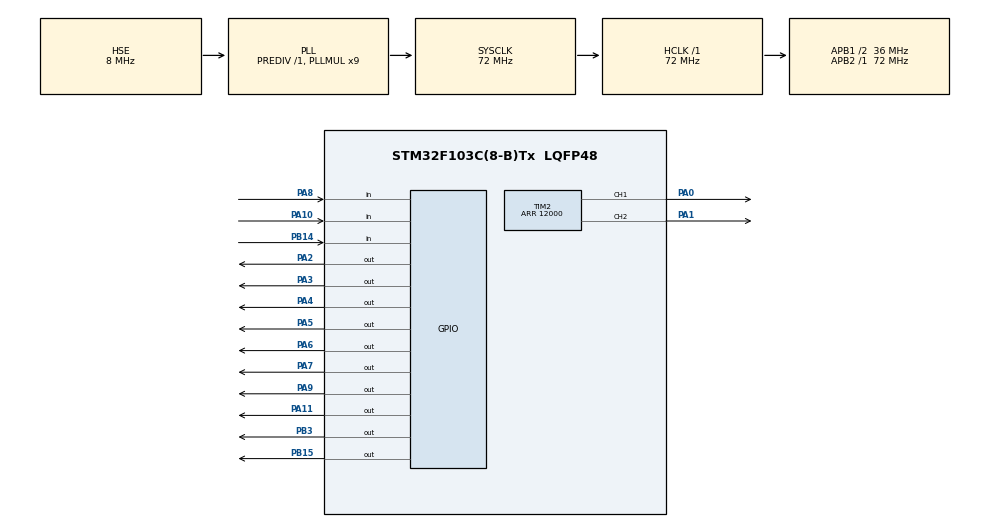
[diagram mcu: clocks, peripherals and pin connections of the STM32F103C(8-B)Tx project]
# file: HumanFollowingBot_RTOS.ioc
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FREERTOS.Mutexes01=myMutex01,Dynamic,NULL
FREERTOS.Tasks01=ReadRightTask,1,128,ta,Default,NULL,Dynamic,NULL,NULL;ReadSensorData,0,128,ReadSensor,Default,NULL,Dynamic,NULL,NULL;choosePath,0,128,path,Default,NULL,Dynamic,NULL,NULL
FREERTOS.configUSE_TIMERS=1
Mcu.Family=STM32F1
Mcu.Name=STM32F103C(8-B)Tx
Mcu.Package=LQFP48
NVIC.PriorityGroup=NVIC_PRIORITYGROUP_4
PA0-WKUP.Signal=S_TIM2_CH1_ETR
PA1.Signal=S_TIM2_CH2
PA10.Signal=GPIO_Input
PA11.Signal=GPIO_Output
PA13.Mode=Serial_Wire
PA13.Signal=SYS_JTMS-SWDIO
PA14.Mode=Serial_Wire
PA14.Signal=SYS_JTCK-SWCLK
PA2.Signal=GPIO_Output
PA3.Signal=GPIO_Output
PA4.Signal=GPIO_Output
PA5.Signal=GPIO_Output
PA6.Signal=GPIO_Output
PA7.Signal=GPIO_Output
PA8.Signal=GPIO_Input
PA9.Signal=GPIO_Output
PB14.Signal=GPIO_Input
PB15.Signal=GPIO_Output
PB3.Signal=GPIO_Output
PD0-OSC_IN.Mode=HSE-External-Oscillator
PD0-OSC_IN.Signal=RCC_OSC_IN
PD1-OSC_OUT.Mode=HSE-External-Oscillator
PD1-OSC_OUT.Signal=RCC_OSC_OUT
ProjectManager.HeapSize=0x200
ProjectManager.StackSize=0x400
ProjectManager.TargetToolchain=STM32CubeIDE
RCC.AHBFreq_Value=72000000
RCC.APB1CLKDivider=RCC_HCLK_DIV2
RCC.APB1Freq_Value=36000000
RCC.APB1TimFreq_Value=72000000
RCC.APB2Freq_Value=72000000
RCC.APB2TimFreq_Value=72000000
RCC.HCLKFreq_Value=72000000
RCC.PLLMUL=RCC_PLL_MUL9
RCC.PLLSourceVirtual=RCC_PLLSOURCE_HSE
RCC.SYSCLKFreq_VALUE=72000000
RCC.SYSCLKSource=RCC_SYSCLKSOURCE_PLLCLK
RCC.USBFreq_Value=72000000
SH.S_TIM2_CH1_ETR.0=TIM2_CH1,PWM Generation1 CH1
SH.S_TIM2_CH2.0=TIM2_CH2,PWM Generation2 CH2
TIM1.Prescaler=71
TIM2.AutoReloadPreload=TIM_AUTORELOAD_PRELOAD_ENABLE
TIM2.Channel-PWM\ Generation1\ CH1=TIM_CHANNEL_1
TIM2.Channel-PWM\ Generation2\ CH2=TIM_CHANNEL_2
TIM2.CounterMode=TIM_COUNTERMODE_CENTERALIGNED2
TIM2.Period=12000
TIM3.Prescaler=71
TIM4.Prescaler=71
VP_FREERTOS_VS_CMSIS_V1.Mode=CMSIS_V1
VP_TIM1_VS_ClockSourceINT.Mode=Internal
VP_TIM2_VS_ClockSourceINT.Mode=Internal
VP_TIM3_VS_ClockSourceINT.Mode=Internal
VP_TIM4_VS_ClockSourceINT.Mode=Internal
board=custom

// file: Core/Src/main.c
/* USER CODE BEGIN Header */
/**
  ******************************************************************************
  * @file           : main.c
  * @brief          : Main program body
  ******************************************************************************
  * @attention
  *
  * Copyright (c) 2024 STMicroelectronics.
  * All rights reserved.
  *
  * This software is licensed under terms that can be found in the LICENSE file
  * in the root directory of this software component.
  * If no LICENSE file comes with this software, it is provided AS-IS.
  *
  ******************************************************************************
  */
/* USER CODE END Header */
#include "main.h"
#include <stdio.h>
#include "LCD1602.h"

TIM_HandleTypeDef htim1;
TIM_HandleTypeDef htim2;
TIM_HandleTypeDef htim3;
TIM_HandleTypeDef htim4;

osThreadId ReadRightTaskHandle;
osThreadId ReadSensorDataHandle;
osThreadId choosePathHandle;
osMutexId myMutex01Handle;
/* USER CODE BEGIN PV */
#define TRIGCENTER_PIN GPIO_PIN_9
#define TRIGCENTER_PORT GPIOA
#define ECHOCENTER_PIN GPIO_PIN_8
#define ECHOCENTER_PORT GPIOA
uint32_t centerpMillis;
uint32_t centerValue1 = 0;
uint32_t centerValue2 = 0;
uint16_t centerDistance  = 0;  // cm

#define TRIGLEFT_PIN GPIO_PIN_11
#define TRIGLEFT_PORT GPIOA
#define ECHOLEFT_PIN GPIO_PIN_10
#define ECHOLEFT_PORT GPIOA
uint32_t leftpMillis;
uint32_t leftValue1 = 0;
uint32_t leftValue2 = 0;
uint16_t leftDistance  = 0;  // cm

#define TRIGRIGHT_PIN GPIO_PIN_15
#define TRIGRIGHT_PORT GPIOB
#define ECHORIGHT_PIN GPIO_PIN_14
#define ECHORIGHT_PORT GPIOB
uint32_t rightpMillis;
uint32_t rightValue1 = 0;
uint32_t rightValue2 = 0;
uint16_t rightDistance  = 0;  // cm

uint16_t desiredDistance=5;
uint16_t error;

int preverror=0;
#define kp 500
#define ki 0

#define kd 0.3
int pwmC=0;
int pwmR=0;
int pwmL=0;
int sum=0;
int SampleTime=500; // 1khz
int propotional=0;
int integral=0;
int derivative =0;
char buf[10];
uint16_t x;

int PID_Apply(int error){
	int output=0;

	sum+=error;
	 propotional= kp*error;
	 integral=(ki*sum)/SampleTime;
	 derivative =kd*(error-preverror)*SampleTime;

	output=propotional+integral+derivative;
	preverror=error;
	if(output>12000)
		output=12000;
	else if(output<0)
	{
		output=0;
	}
	else if(output<=4500 && derivative>0)
	{
		output=4500;
	}
	return output;
}
/* USER CODE END PV */

void SystemClock_Config(void);
static void MX_GPIO_Init(void);
static void MX_TIM1_Init(void);
static void MX_TIM2_Init(void);
static void MX_TIM3_Init(void);
static void MX_TIM4_Init(void);
void ReadSensor(void const * argument);
void path(void const * argument);

int main(void)
{

  HAL_Init();

  SystemClock_Config();

  MX_GPIO_Init();
  MX_TIM1_Init();
  MX_TIM2_Init();
  MX_TIM3_Init();
  MX_TIM4_Init();
  /* USER CODE BEGIN 2 */
  HAL_TIM_Base_Start(&htim1);
  HAL_TIM_Base_Start(&htim3);
  HAL_TIM_Base_Start(&htim4);
  HAL_GPIO_WritePin(TRIGCENTER_PORT, TRIGCENTER_PIN, GPIO_PIN_RESET);  // pull the TRIG pin low
  HAL_TIM_PWM_Start(&htim2, TIM_CHANNEL_1);
  HAL_TIM_PWM_Start(&htim2, TIM_CHANNEL_2);
  /* USER CODE END 2 */
  lcd_init ();
    HAL_Delay(100);
    lcd_clear();
    lcd_put_cur(0, 0);
    lcd_send_string("HELLO ");
    HAL_Delay(100);
    lcd_clear();
  /* Create the mutex(es) */
  /* definition and creation of myMutex01 */
  osMutexDef(myMutex01);
  myMutex01Handle = osMutexCreate(osMutex(myMutex01));

  /* definition and creation of ReadSensorData */
  osThreadDef(ReadSensorData, ReadSensor, osPriorityNormal, 0, 128);
  ReadSensorDataHandle = osThreadCreate(osThread(ReadSensorData), NULL);

  /* definition and creation of choosePath */
  osThreadDef(choosePath, path, osPriorityNormal, 0, 128);
  choosePathHandle = osThreadCreate(osThread(choosePath), NULL);

  osKernelStart();

  while (1){}  /* USER CODE END 3 */
}

void SystemClock_Config(void)
{
  RCC_OscInitTypeDef RCC_OscInitStruct = {0};
  RCC_ClkInitTypeDef RCC_ClkInitStruct = {0};

  /** Initializes the RCC Oscillators according to the specified parameters
  * in the RCC_OscInitTypeDef structure.
  */
  RCC_OscInitStruct.OscillatorType = RCC_OSCILLATORTYPE_HSE;
  RCC_OscInitStruct.HSEState = RCC_HSE_ON;
  RCC_OscInitStruct.HSEPredivValue = RCC_HSE_PREDIV_DIV1;
  RCC_OscInitStruct.HSIState = RCC_HSI_ON;
  RCC_OscInitStruct.PLL.PLLState = RCC_PLL_ON;
  RCC_OscInitStruct.PLL.PLLSource = RCC_PLLSOURCE_HSE;
  RCC_OscInitStruct.PLL.PLLMUL = RCC_PLL_MUL9;
  if (HAL_RCC_OscConfig(&RCC_OscInitStruct) != HAL_OK)
  {
    Error_Handler();
  }

  /** Initializes the CPU, AHB and APB buses clocks
  */
  RCC_ClkInitStruct.ClockType = RCC_CLOCKTYPE_HCLK|RCC_CLOCKTYPE_SYSCLK
                              |RCC_CLOCKTYPE_PCLK1|RCC_CLOCKTYPE_PCLK2;
  RCC_ClkInitStruct.SYSCLKSource = RCC_SYSCLKSOURCE_PLLCLK;
  RCC_ClkInitStruct.AHBCLKDivider = RCC_SYSCLK_DIV1;
  RCC_ClkInitStruct.APB1CLKDivider = RCC_HCLK_DIV2;
  RCC_ClkInitStruct.APB2CLKDivider = RCC_HCLK_DIV1;

  if (HAL_RCC_ClockConfig(&RCC_ClkInitStruct, FLASH_LATENCY_2) != HAL_OK)
  {
    Error_Handler();
  }
}

static void MX_TIM1_Init(void)
{

  TIM_ClockConfigTypeDef sClockSourceConfig = {0};
  TIM_MasterConfigTypeDef sMasterConfig = {0};

  htim1.Instance = TIM1;
  htim1.Init.Prescaler = 71;
  htim1.Init.CounterMode = TIM_COUNTERMODE_UP;
  htim1.Init.Period = 65535;
  htim1.Init.ClockDivision = TIM_CLOCKDIVISION_DIV1;
  htim1.Init.RepetitionCounter = 0;
  htim1.Init.AutoReloadPreload = TIM_AUTORELOAD_PRELOAD_DISABLE;
  if (HAL_TIM_Base_Init(&htim1) != HAL_OK)
  {
    Error_Handler();
  }
  sClockSourceConfig.ClockSource = TIM_CLOCKSOURCE_INTERNAL;
  if (HAL_TIM_ConfigClockSource(&htim1, &sClockSourceConfig) != HAL_OK)
  {
    Error_Handler();
  }
  sMasterConfig.MasterOutputTrigger = TIM_TRGO_RESET;
  sMasterConfig.MasterSlaveMode = TIM_MASTERSLAVEMODE_DISABLE;
  if (HAL_TIMEx_MasterConfigSynchronization(&htim1, &sMasterConfig) != HAL_OK)
  {
    Error_Handler();
  }

}

static void MX_TIM2_Init(void)
{

  TIM_ClockConfigTypeDef sClockSourceConfig = {0};
  TIM_MasterConfigTypeDef sMasterConfig = {0};
  TIM_OC_InitTypeDef sConfigOC = {0};

  htim2.Instance = TIM2;
  htim2.Init.Prescaler = 0;
  htim2.Init.CounterMode = TIM_COUNTERMODE_CENTERALIGNED2;
  htim2.Init.Period = 12000;
  htim2.Init.ClockDivision = TIM_CLOCKDIVISION_DIV1;
  htim2.Init.AutoReloadPreload = TIM_AUTORELOAD_PRELOAD_ENABLE;
  if (HAL_TIM_Base_Init(&htim2) != HAL_OK)
  {
    Error_Handler();
  }
  sClockSourceConfig.ClockSource = TIM_CLOCKSOURCE_INTERNAL;
  if (HAL_TIM_ConfigClockSource(&htim2, &sClockSourceConfig) != HAL_OK)
  {
    Error_Handler();
  }
  if (HAL_TIM_PWM_Init(&htim2) != HAL_OK)
  {
    Error_Handler();
  }
  sMasterConfig.MasterOutputTrigger = TIM_TRGO_RESET;
  sMasterConfig.MasterSlaveMode = TIM_MASTERSLAVEMODE_DISABLE;
  if (HAL_TIMEx_MasterConfigSynchronization(&htim2, &sMasterConfig) != HAL_OK)
  {
    Error_Handler();
  }
  sConfigOC.OCMode = TIM_OCMODE_PWM1;
  sConfigOC.Pulse = 0;
  sConfigOC.OCPolarity = TIM_OCPOLARITY_HIGH;
  sConfigOC.OCFastMode = TIM_OCFAST_DISABLE;
  if (HAL_TIM_PWM_ConfigChannel(&htim2, &sConfigOC, TIM_CHANNEL_1) != HAL_OK)
  {
    Error_Handler();
  }
  if (HAL_TIM_PWM_ConfigChannel(&htim2, &sConfigOC, TIM_CHANNEL_2) != HAL_OK)
  {
    Error_Handler();
  }
  HAL_TIM_MspPostInit(&htim2);

}

static void MX_TIM3_Init(void)
{

  TIM_ClockConfigTypeDef sClockSourceConfig = {0};
  TIM_MasterConfigTypeDef sMasterConfig = {0};

  htim3.Instance = TIM3;
  htim3.Init.Prescaler = 71;
  htim3.Init.CounterMode = TIM_COUNTERMODE_UP;
  htim3.Init.Period = 65535;
  htim3.Init.ClockDivision = TIM_CLOCKDIVISION_DIV1;
  htim3.Init.AutoReloadPreload = TIM_AUTORELOAD_PRELOAD_DISABLE;
  if (HAL_TIM_Base_Init(&htim3) != HAL_OK)
  {
    Error_Handler();
  }
  sClockSourceConfig.ClockSource = TIM_CLOCKSOURCE_INTERNAL;
  if (HAL_TIM_ConfigClockSource(&htim3, &sClockSourceConfig) != HAL_OK)
  {
    Error_Handler();
  }
  sMasterConfig.MasterOutputTrigger = TIM_TRGO_RESET;
  sMasterConfig.MasterSlaveMode = TIM_MASTERSLAVEMODE_DISABLE;
  if (HAL_TIMEx_MasterConfigSynchronization(&htim3, &sMasterConfig) != HAL_OK)
  {
    Error_Handler();
  }

}

static void MX_TIM4_Init(void)
{

  TIM_ClockConfigTypeDef sClockSourceConfig = {0};
  TIM_MasterConfigTypeDef sMasterConfig = {0};

  htim4.Instance = TIM4;
  htim4.Init.Prescaler = 71;
  htim4.Init.CounterMode = TIM_COUNTERMODE_UP;
  htim4.Init.Period = 65535;
  htim4.Init.ClockDivision = TIM_CLOCKDIVISION_DIV1;
  htim4.Init.AutoReloadPreload = TIM_AUTORELOAD_PRELOAD_DISABLE;
  if (HAL_TIM_Base_Init(&htim4) != HAL_OK)
  {
    Error_Handler();
  }
  sClockSourceConfig.ClockSource = TIM_CLOCKSOURCE_INTERNAL;
  if (HAL_TIM_ConfigClockSource(&htim4, &sClockSourceConfig) != HAL_OK)
  {
    Error_Handler();
  }
  sMasterConfig.MasterOutputTrigger = TIM_TRGO_RESET;
  sMasterConfig.MasterSlaveMode = TIM_MASTERSLAVEMODE_DISABLE;
  if (HAL_TIMEx_MasterConfigSynchronization(&htim4, &sMasterConfig) != HAL_OK)
  {
    Error_Handler();
  }

}

static void MX_GPIO_Init(void)
{
  GPIO_InitTypeDef GPIO_InitStruct = {0};

  /* GPIO Ports Clock Enable */
  __HAL_RCC_GPIOD_CLK_ENABLE();
  __HAL_RCC_GPIOA_CLK_ENABLE();
  __HAL_RCC_GPIOB_CLK_ENABLE();

  /*Configure GPIO pin Output Level */
  HAL_GPIO_WritePin(GPIOA, GPIO_PIN_2|GPIO_PIN_3|GPIO_PIN_4|GPIO_PIN_5
                          |GPIO_PIN_6|GPIO_PIN_7|GPIO_PIN_9|GPIO_PIN_11, GPIO_PIN_RESET);

  /*Configure GPIO pin Output Level */
  HAL_GPIO_WritePin(GPIOB, GPIO_PIN_15|GPIO_PIN_3, GPIO_PIN_RESET);

  /*Configure GPIO pins : PA2 PA3 PA4 PA5
                           PA6 PA7 PA9 PA11 */
  GPIO_InitStruct.Pin = GPIO_PIN_2|GPIO_PIN_3|GPIO_PIN_4|GPIO_PIN_5
                          |GPIO_PIN_6|GPIO_PIN_7|GPIO_PIN_9|GPIO_PIN_11;
  GPIO_InitStruct.Mode = GPIO_MODE_OUTPUT_PP;
  GPIO_InitStruct.Pull = GPIO_NOPULL;
  GPIO_InitStruct.Speed = GPIO_SPEED_FREQ_LOW;
  HAL_GPIO_Init(GPIOA, &GPIO_InitStruct);

  /*Configure GPIO pin : PB14 */
  GPIO_InitStruct.Pin = GPIO_PIN_14;
  GPIO_InitStruct.Mode = GPIO_MODE_INPUT;
  GPIO_InitStruct.Pull = GPIO_NOPULL;
  HAL_GPIO_Init(GPIOB, &GPIO_InitStruct);

  /*Configure GPIO pins : PB15 PB3 */
  GPIO_InitStruct.Pin = GPIO_PIN_15|GPIO_PIN_3;
  GPIO_InitStruct.Mode = GPIO_MODE_OUTPUT_PP;
  GPIO_InitStruct.Pull = GPIO_NOPULL;
  GPIO_InitStruct.Speed = GPIO_SPEED_FREQ_LOW;
  HAL_GPIO_Init(GPIOB, &GPIO_InitStruct);

  /*Configure GPIO pins : PA8 PA10 */
  GPIO_InitStruct.Pin = GPIO_PIN_8|GPIO_PIN_10;
  GPIO_InitStruct.Mode = GPIO_MODE_INPUT;
  GPIO_InitStruct.Pull = GPIO_NOPULL;
  HAL_GPIO_Init(GPIOA, &GPIO_InitStruct);

}

void ReadSensor(void const * argument)
{
  /* USER CODE BEGIN ReadSensor */
  /* Infinite loop */
  for(;;)
  {
	 // xSemaphoreTake(myMutex01Handle,0);
	  vTaskSuspend(NULL);
	  HAL_GPIO_WritePin(TRIGCENTER_PORT, TRIGCENTER_PIN, GPIO_PIN_SET);  // pull the TRIG pin HIGH
	      __HAL_TIM_SET_COUNTER(&htim1, 0);
	      while (__HAL_TIM_GET_COUNTER (&htim1) < 10);  // wait for 10 us
	      HAL_GPIO_WritePin(TRIGCENTER_PORT, TRIGCENTER_PIN, GPIO_PIN_RESET);  // pull the TRIG pin low

	      centerpMillis = HAL_GetTick(); // used this to avoid infinite while loop  (for timeout)
	      // wait for the echo pin to go high
	      while (!(HAL_GPIO_ReadPin (ECHOCENTER_PORT, ECHOCENTER_PIN)) && centerpMillis + 10 >  HAL_GetTick());
	      centerValue1 = __HAL_TIM_GET_COUNTER (&htim1);

	      centerpMillis = HAL_GetTick(); // used this to avoid infinite while loop (for timeout)
	      // wait for the echo pin to go low
	      while ((HAL_GPIO_ReadPin (ECHOCENTER_PORT, ECHOCENTER_PIN)) && centerpMillis + 50 > HAL_GetTick());
	      centerValue2 = __HAL_TIM_GET_COUNTER (&htim1);

	      centerDistance = (centerValue2-centerValue1)* 0.034/2;

	      //left ultrasonic
	      HAL_GPIO_WritePin(TRIGLEFT_PORT, TRIGLEFT_PIN, GPIO_PIN_SET);  // pull the TRIG pin HIGH
	      __HAL_TIM_SET_COUNTER(&htim3, 0);
	      while (__HAL_TIM_GET_COUNTER (&htim3) < 10);  // wait for 10 us
	      HAL_GPIO_WritePin(TRIGLEFT_PORT, TRIGLEFT_PIN, GPIO_PIN_RESET);  // pull the TRIG pin low

	      leftpMillis = HAL_GetTick(); // used this to avoid infinite while loop  (for timeout)
	      // wait for the echo pin to go high
	      while (!(HAL_GPIO_ReadPin (ECHOLEFT_PORT, ECHOLEFT_PIN)) && leftpMillis + 10 >  HAL_GetTick());
	      leftValue1 = __HAL_TIM_GET_COUNTER (&htim3);

	      leftpMillis = HAL_GetTick(); // used this to avoid infinite while loop (for timeout)
	      // wait for the echo pin to go low
	      while ((HAL_GPIO_ReadPin (ECHOLEFT_PORT, ECHOLEFT_PIN)) && leftpMillis + 50 > HAL_GetTick());
	      leftValue2 = __HAL_TIM_GET_COUNTER (&htim3);

	      leftDistance = (leftValue2-leftValue1)* 0.034/2;

	      //right ultrasonic
	      HAL_GPIO_WritePin(TRIGRIGHT_PORT, TRIGRIGHT_PIN, GPIO_PIN_SET);  // pull the TRIG pin HIGH
	      __HAL_TIM_SET_COUNTER(&htim4, 0);
	      while (__HAL_TIM_GET_COUNTER (&htim4) < 10);  // wait for 10 us
	      HAL_GPIO_WritePin(TRIGRIGHT_PORT, TRIGRIGHT_PIN, GPIO_PIN_RESET);  // pull the TRIG pin low

	      rightpMillis = HAL_GetTick(); // used this to avoid infinite while loop  (for timeout)
	      // wait for the echo pin to go high
	      while (!(HAL_GPIO_ReadPin (ECHORIGHT_PORT, ECHORIGHT_PIN)) && rightpMillis + 10 >  HAL_GetTick());
	      rightValue1 = __HAL_TIM_GET_COUNTER (&htim4);

	      rightpMillis = HAL_GetTick(); // used this to avoid infinite while loop (for timeout)
	      // wait for the echo pin to go low
	      while ((HAL_GPIO_ReadPin (ECHORIGHT_PORT, ECHORIGHT_PIN)) && rightpMillis + 50 > HAL_GetTick());
	      rightValue2 = __HAL_TIM_GET_COUNTER (&htim4);

	      rightDistance = (rightValue2-rightValue1)* 0.034/2;

	      //xSemaphoreGive(myMutex01Handle);
	      vTaskResume(NULL);
    //osDelay(1);
  }
  /* USER CODE END ReadSensor */
}

void path(void const * argument)
{
  /* USER CODE BEGIN path */
  /* Infinite loop */
  for(;;)
  {
	  vTaskSuspend(NULL);
	  if(leftDistance>200 && rightDistance>200 && centerDistance>200){
	     	TIM2->CCR1=0;
	     	TIM2->CCR2=0;
	     	 lcd_send_string("No object detected! ");
	          HAL_Delay(100);
	          lcd_clear();
	     }
	     else if(centerDistance<leftDistance && centerDistance<rightDistance && centerDistance<300 && centerDistance>desiredDistance){
	     	 error=(centerDistance-desiredDistance);
	     	pwmC=PID_Apply(error);
	     	// pwmL=PID_Apply(error);
	     	if(error<=0)
	     	{
	     		pwmC=0;
	     		TIM2->CCR1=pwmC;
	     		TIM2->CCR2=pwmC;
	     		lcd_put_cur(0, 0);
	     		lcd_send_string("desired distance reached");

	     	}
	     	else
	     	{
	     	TIM2->CCR1=pwmC;
	     	TIM2->CCR2=pwmC;
	     	lcd_put_cur(0, 0);
	 		lcd_send_string("Move Forward ");
	 		lcd_put_cur(1, 0);
	 		sprintf(buf,"%d",error); // @suppress("Float formatting support"
	 		lcd_send_string(buf);
	 		lcd_send_string("  ");
	 		sprintf(buf,"%d",pwmC); // @suppress("Float formatting support"
	 		lcd_send_string(buf);
	   	    lcd_send_string("  ");
	 	 	sprintf(buf,"%d",centerDistance); // @suppress("Float formatting support"
	 	  lcd_send_string(buf);
	 		 HAL_Delay(100);
	 		 lcd_clear();
	     	}
	     }

	     else if(leftDistance>rightDistance && centerDistance>rightDistance &&rightDistance<300 && rightDistance>desiredDistance){
	      	error=(rightDistance-desiredDistance);
	      	if(error<=0)
	      	{
	      		pwmR=0;
	      		TIM2->CCR1=pwmR;
	      		TIM2->CCR2=pwmR;
	      		lcd_put_cur(0, 0);
	      		lcd_send_string("desired distance reached");

	      	}
	      	else
	      	{
	      	pwmR=PID_Apply(error);
	      	//pwmR=error*1000;
	      	TIM2->CCR1=pwmR;
	      	TIM2->CCR2=0;
	      	lcd_put_cur(0, 0);
	 		lcd_send_string("Move Right ");
	 		lcd_put_cur(1, 0);
	 		sprintf(buf,"%d",error); // @suppress("Float formatting support"
	 		lcd_send_string(buf);
	 		lcd_send_string("  ");
	 		sprintf(buf,"%d",pwmR); // @suppress("Float formatting support"
	 		lcd_send_string(buf);
	   	    lcd_send_string("  ");
	 	 	sprintf(buf,"%d",rightDistance); // @suppress("Float formatting support"
	 	  lcd_send_string(buf);
	 		 HAL_Delay(100);
	 		 lcd_clear();
	      	}

	     }

	     else if(leftDistance<rightDistance &&leftDistance<centerDistance && leftDistance<300 && leftDistance>desiredDistance){
	      	error=(leftDistance-desiredDistance);
	     	pwmL=PID_Apply(error);
	     	if(error<=0)
	     	{
	 		pwmL=0;
	 		TIM2->CCR1=pwmL;
	 		TIM2->CCR2=pwmL;
	 		lcd_put_cur(0, 0);
	 		lcd_send_string("desired distance reached");

	 		}
	 		else
	 		{
	 		TIM2->CCR2=pwmL;
	 		TIM2->CCR1=0;
	 		lcd_put_cur(0, 0);
	 		lcd_send_string("Move Left ");
	 		lcd_put_cur(1, 0);
	 		sprintf(buf,"%d",error); // @suppress("Float formatting support"
	 		lcd_send_string(buf);
	 		lcd_send_string("  ");
	 		sprintf(buf,"%d",pwmL); // @suppress("Float formatting support"
	 		lcd_send_string(buf);
	   	    lcd_send_string("  ");
	 	 	sprintf(buf,"%d",leftDistance); // @suppress("Float formatting support"
	 	  lcd_send_string(buf);
	 		 HAL_Delay(100);
	 		 lcd_clear();
	 		}

	     }

	    vTaskResume(NULL);
    //osDelay(1);
  }
  /* USER CODE END path */

void Error_Handler(void)
{
  __disable_irq();
  while (1)
  {
  }
}
